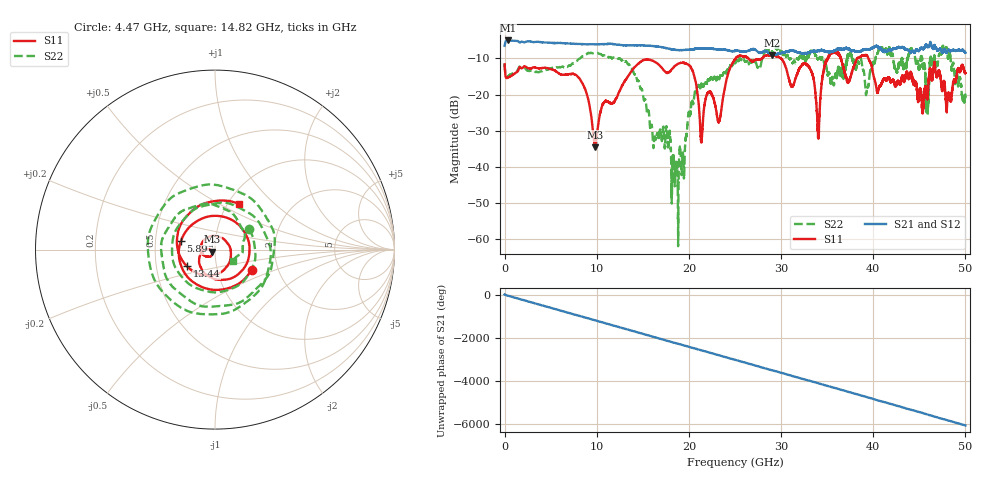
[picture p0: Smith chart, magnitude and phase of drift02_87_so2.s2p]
!Created with skrf (http://scikit-rf.org).
# Hz S RI R 50.0
!freq ReS11 ImS11 ReS21 ImS21 ReS12 ImS12 ReS22 ImS22
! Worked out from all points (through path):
!   10001 points, 300 kHz to 50 GHz, reference 50 ohm
!   highest |S21| = -5.04 dB at 360.3 MHz (marker M1); lowest = -9.0 dB at 29.01 GHz (marker M2)
!   group delay of S21, straight-line fit = 336 ps
!   lowest |S11| = -34.5 dB at 9.84 GHz (marker M3), VSWR 1.04, Z = 48.5 - j1.04 ohm
!   |S11| at or under -10 dB: start of sweep to 25.07 GHz; 29.96 GHz to 35.06 GHz (5.092 GHz wide, 15.7 % of centre); 39.48 GHz to end of sweep (the widest 3 of 7)
!   |S22| runs from -61.9 to -6.5 dB; largest |S21 - S12| = 0.023
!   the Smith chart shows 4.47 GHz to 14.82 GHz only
!   S11 on the Smith chart (normalised r, x): 4.47 GHz: 1.46, -0.35; 5.89 GHz: 0.68, +0.07; 13.44 GHz: 0.72, -0.14; 14.82 GHz: 1.12, +0.62
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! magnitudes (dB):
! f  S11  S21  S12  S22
! 300 kHz  -11.6  -6.5  -6.4  -11.5
! 360.3 MHz  -15.3  -5.0  -5.1  -15.0
! 4.47 GHz  -12.6  -5.6  -5.6  -13.2
! 5.89 GHz  -14.2  -5.7  -5.7  -12.5
! 8.335 GHz  -16.4  -6.0  -6.0  -9.6
! 9.84 GHz  -34.5  -6.1  -6.1  -8.5
! 13.44 GHz  -14.8  -6.4  -6.4  -11.6
! 14.82 GHz  -10.8  -6.4  -6.4  -18.5
! 16.67 GHz  -11.6  -6.7  -6.7  -31.4
! 18.66 GHz  -11.8  -7.7  -7.7  -39.0
! 20.37 GHz  -13.3  -7.5  -7.5  -22.1
! 21.37 GHz  -32.4  -7.2  -7.2  -16.9
! 23.31 GHz  -27.1  -7.6  -7.6  -15.5
! 25 GHz  -10.3  -7.9  -7.9  -11.2
! 29.01 GHz  -9.1  -9.0  -9.0  -8.1
! 33.34 GHz  -13.9  -8.1  -8.1  -8.1
! 34.02 GHz  -31.3  -7.9  -7.9  -10.3
! 35.54 GHz  -8.4  -8.1  -8.1  -15.3
! 41.67 GHz  -15.3  -7.7  -7.8  -7.4
! 45.87 GHz  -20.3  -6.8  -6.9  -24.0
! 47.76 GHz  -17.1  -7.5  -7.5  -7.7
! 50 GHz  -14.1  -8.5  -8.4  -20.1
